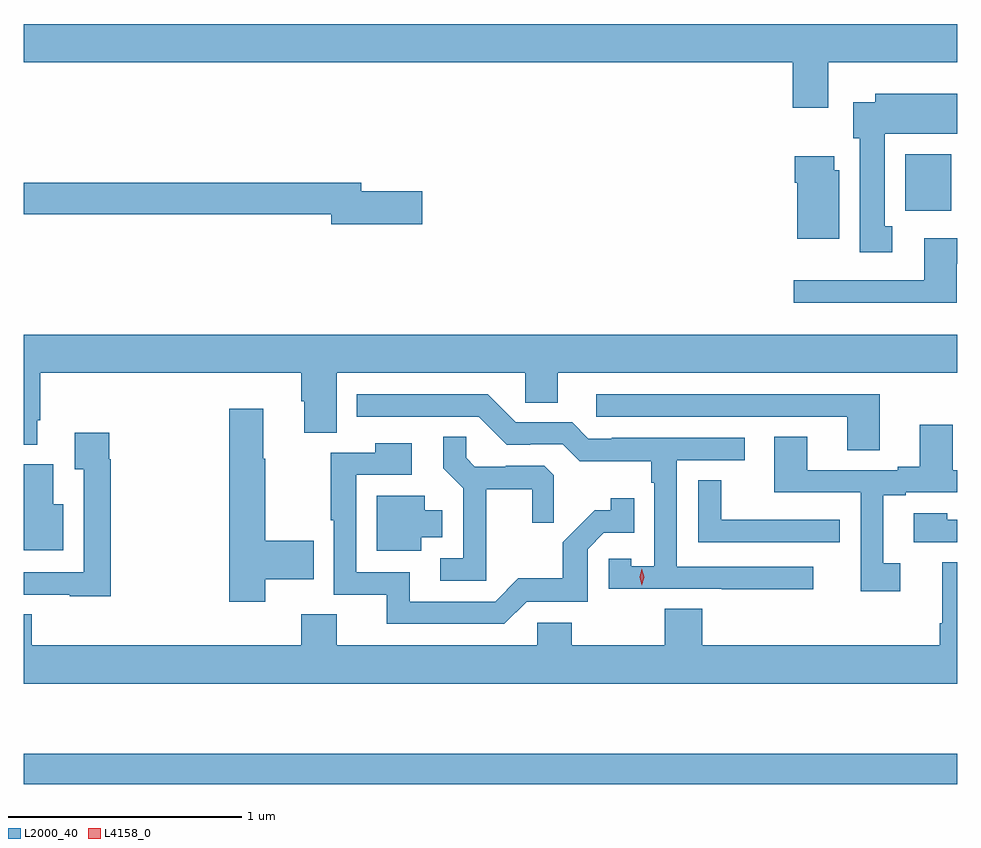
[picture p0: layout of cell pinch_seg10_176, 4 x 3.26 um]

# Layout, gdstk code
import gdstk
lib = gdstk.Library(unit=1e-6, precision=1e-09)
def R(c, l, rs):  # rectangles x0, y0, x1, y1
    for r in rs: c.add(gdstk.rectangle(r[:2], r[2:], *l))
def P(c, l, *ps):  # polygons
    for p in ps: c.add(gdstk.Polygon(p, *l))
L2000_40 = (2000, 40)
L4158_0 = (4158, 0)

pinch_seg10_176 = lib.new_cell('pinch_seg10_176')
R(pinch_seg10_176, L2000_40, [(734.122,1269.25,738.122,1269.379), (737.9,1271.708,738.097,1271.95)])
P(pinch_seg10_176, L2000_40, [(737.569,1272.344),(738.122,1272.344),(738.122,1272.508),(734.122,1272.508),(734.122,1272.344),(737.417,1272.344),(737.417,1272.15),(737.569,1272.15)],
  [(737.845,1271.642),(737.812,1271.642),(737.812,1272.038),(738.122,1272.038),(738.122,1272.208),(737.771,1272.208),(737.771,1272.172),(737.678,1272.172),(737.678,1272.018),(737.705,1272.018),(737.705,1271.529),(737.845,1271.529)],
  [(737.617,1271.88),(737.596,1271.88),(737.596,1271.941),(737.426,1271.941),(737.426,1271.828),(737.438,1271.828),(737.438,1271.588),(737.617,1271.588)],
  [(735.829,1271.792),(735.568,1271.792),(735.568,1271.828),(734.122,1271.828),(734.122,1271.692),(735.44,1271.692),(735.44,1271.65),(735.829,1271.65)],
  [(738.121,1271.481),(738.122,1271.481),(738.122,1271.59),(737.981,1271.59),(737.981,1271.409),(737.421,1271.409),(737.421,1271.312),(738.121,1271.312)],
  [(734.179,1270.81),(734.192,1270.81),(734.192,1271.012),(735.311,1271.012),(735.311,1270.89),(735.323,1270.89),(735.323,1270.756),(735.463,1270.756),(735.463,1271.012),(736.272,1271.012),(736.272,1270.885),(736.411,1270.885),(736.411,1271.012),(738.122,1271.012),(738.122,1271.176),(734.122,1271.176),(734.122,1270.705),(734.179,1270.705)],
  [(737.791,1270.92),(736.575,1270.92),(736.575,1270.824),(737.651,1270.824),(737.651,1270.681),(737.791,1270.681)],
  [(737.506,1270.182),(736.92,1270.182),(736.92,1270.638),(737.212,1270.638),(737.212,1270.734),(736.642,1270.734),(736.642,1270.731),(736.542,1270.731),(736.473,1270.8),(736.23,1270.8),(736.11,1270.92),(735.548,1270.92),(735.548,1270.824),(736.071,1270.824),(736.191,1270.704),(736.292,1270.704),(736.292,1270.707),(736.431,1270.707),(736.504,1270.634),(736.812,1270.634),(736.812,1270.541),(736.824,1270.541),(736.824,1270.183),(736.725,1270.183),(736.725,1270.215),(736.629,1270.215),(736.629,1270.086),(737.113,1270.086),(737.113,1270.084),(737.506,1270.084)],
  [(735.156,1270.127),(735.365,1270.127),(735.365,1270.293),(735.156,1270.293),(735.156,1270.645),(735.148,1270.645),(735.148,1270.858),(735.002,1270.858),(735.002,1270.032),(735.156,1270.032)],
  [(737.878,1270.197),(737.806,1270.197),(737.806,1270.488),(737.902,1270.488),(737.902,1270.5),(738.122,1270.5),(738.122,1270.596),(738.103,1270.596),(738.103,1270.789),(737.963,1270.789),(737.963,1270.609),(737.867,1270.609),(737.867,1270.596),(737.479,1270.596),(737.479,1270.739),(737.339,1270.739),(737.339,1270.5),(737.709,1270.5),(737.709,1270.077),(737.878,1270.077)],
  [(734.495,1270.643),(734.488,1270.643),(734.488,1270.756),(734.339,1270.756),(734.339,1270.6),(734.379,1270.6),(734.379,1270.158),(734.122,1270.158),(734.122,1270.062),(734.319,1270.062),(734.319,1270.055),(734.495,1270.055)],
  [(736.103,1270.514),(736.3,1270.514),(736.3,1270.371),(736.394,1270.371),(736.394,1270.573),(736.353,1270.614),(736.188,1270.614),(736.188,1270.611),(736.054,1270.611),(736.017,1270.648),(736.017,1270.739),(735.919,1270.739),(735.919,1270.603),(736.005,1270.517),(736.005,1270.218),(735.906,1270.218),(735.906,1270.122),(736.103,1270.122)],
  [(736.278,1270.032),(736.539,1270.032),(736.539,1270.257),(736.608,1270.326),(736.739,1270.326),(736.739,1270.474),(736.638,1270.474),(736.638,1270.424),(736.568,1270.424),(736.431,1270.286),(736.431,1270.131),(736.242,1270.131),(736.143,1270.032),(735.775,1270.032),(735.775,1270.158),(735.546,1270.158),(735.546,1270.575),(735.784,1270.575),(735.784,1270.711),(735.628,1270.711),(735.628,1270.671),(735.438,1270.671),(735.438,1270.381),(735.45,1270.381),(735.45,1270.062),(735.677,1270.062),(735.677,1269.936),(736.182,1269.936)],
  [(734.29,1270.45),(734.248,1270.45),(734.248,1270.62),(734.122,1270.62),(734.122,1270.253),(734.29,1270.253)],
  [(737.62,1270.382),(737.507,1270.382),(737.507,1270.383),(737.112,1270.383),(737.112,1270.553),(737.013,1270.553),(737.013,1270.287),(737.62,1270.287)],
  [(735.826,1270.307),(735.916,1270.307),(735.916,1270.423),(735.841,1270.423),(735.841,1270.486),(735.635,1270.486),(735.635,1270.25),(735.826,1270.25)],
  [(738.122,1270.383),(738.081,1270.383),(738.081,1270.411),(737.937,1270.411),(737.937,1270.287),(738.122,1270.287)],
  [(738.122,1270.201),(738.059,1270.201),(738.059,1269.94),(738.047,1269.94),(738.047,1269.844),(737.03,1269.844),(737.03,1270.001),(736.87,1270.001),(736.87,1269.844),(736.47,1269.844),(736.47,1269.942),(736.323,1269.942),(736.323,1269.844),(735.463,1269.844),(735.463,1269.977),(735.311,1269.977),(735.311,1269.844),(734.156,1269.844),(734.156,1269.977),(734.122,1269.977),(734.122,1269.68),(738.122,1269.68)])
P(pinch_seg10_176, L4158_0, [(736.771,1270.101),(736.771,1270.101),(736.761,1270.137),(736.77,1270.173),(736.77,1270.173),(736.77,1270.173),(736.781,1270.137),(736.771,1270.101)])

lib.write_gds('pinch_seg10_176.gds')
